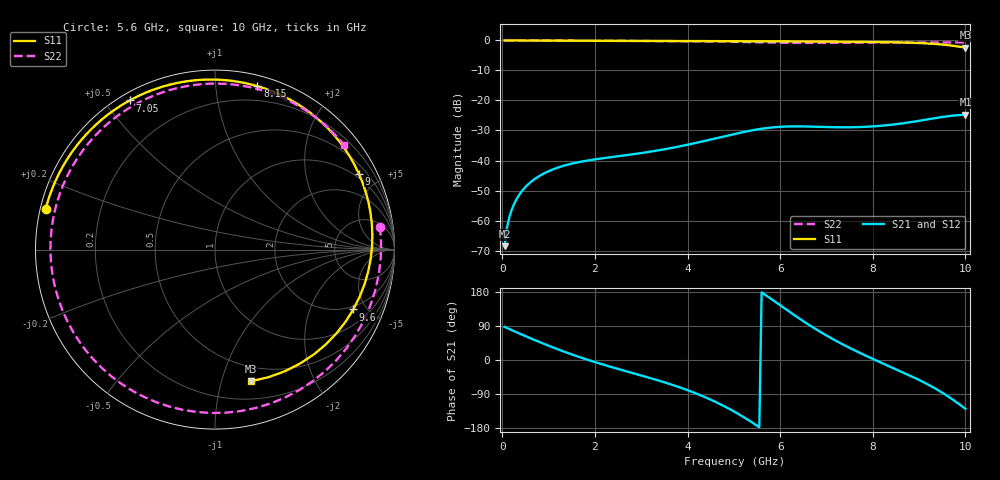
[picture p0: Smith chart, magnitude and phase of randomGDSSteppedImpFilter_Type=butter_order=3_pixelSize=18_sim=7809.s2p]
! freq	dB(S11)	phase(S11)	dB(S12)	phase(S12)
!  dB(S21)	phase(S21)	dB(S22)	phase(S22)
!S-par simulation data
#  GHz  S  DB  R 50
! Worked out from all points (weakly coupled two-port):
!   200 points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, 50 MHz to 10 GHz, reference 50 ohm
!   highest |S21| = -24.74 dB at 10 GHz (marker M1); lowest = -68.5 dB at 50 MHz (marker M2)
!   lowest |S11| = -2.4 dB at 10 GHz (marker M3), VSWR 7.34, Z = 18 - j62.3 ohm
!   |S11| at or under -10 dB: nowhere
!   |S22| runs from -0.8 to 0.0 dB; largest |S21 - S12| = 0
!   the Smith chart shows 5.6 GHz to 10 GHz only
!   S11 on the Smith chart (normalised r, x): 5.6 GHz: 0.02, +0.12; 7.05 GHz: 0.03, +0.58; 8.15 GHz: 0.08, +1.29; 9 GHz: 0.81, +3.87; 9.6 GHz: 1.80, -4.07; 10 GHz: 0.36, -1.25
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0.05  -0.00 -2.1  -68.54 87.2  -68.54 87.2  -0.00 -3.3
0.1  -0.00 -4.3  -62.53 84.5  -62.53 84.5  -0.01 -6.6
0.2  -0.01 -8.6  -56.55 79.0  -56.55 79.0  -0.02 -13.2
0.5  -0.03 -21.2  -48.84 63.0  -48.84 63.0  -0.04 -32.7
1.1  -0.06 -46.0  -42.91 32.9  -42.91 32.9  -0.08 -69.9
1.75  -0.09 -71.3  -40.25 4.3  -40.25 4.3  -0.12 -106.6
2.6  -0.12 -101.7  -38.37 -27.1  -38.37 -27.1  -0.16 -150.0
3.4  -0.15 -127.8  -36.53 -55.1  -36.53 -55.1  -0.20 170.2
3.9  -0.17 -143.2  -35.07 -75.1  -35.07 -75.1  -0.25 143.3
4.4  -0.19 -158.1  -33.37 -99.2  -33.37 -99.2  -0.32 112.6
5.05  -0.23 -177.2  -31.04 -139.1  -31.04 -139.1  -0.47 62.5
5.6  -0.26 166.4  -29.42 178.6  -29.42 178.6  -0.65 7.9
5.9  -0.29 157.3  -28.88 153.1  -28.88 153.1  -0.74 -25.6
6.2  -0.31 148.0  -28.64 127.3  -28.64 127.3  -0.79 -59.3
6.7  -0.35 131.8  -28.72 86.7  -28.72 86.7  -0.81 -111.0
7.05  -0.38 119.7  -28.87 61.1  -28.87 61.1  -0.79 -142.0
7.55  -0.43 101.1  -28.91 28.8  -28.91 28.8  -0.75 180.0
8.15  -0.53 75.4  -28.46 -5.4  -28.46 -5.4  -0.72 140.9
8.35  -0.58 65.8  -28.17 -16.2  -28.17 -16.2  -0.71 128.9
9  -0.85 27.9  -26.78 -52.7  -26.78 -52.7  -0.68 91.8
9.6  -1.52 -23.4  -25.28 -94.0  -25.28 -94.0  -0.67 59.6
10  -2.38 -74.7  -24.74 -128.8  -24.74 -128.8  -0.67 39.0
